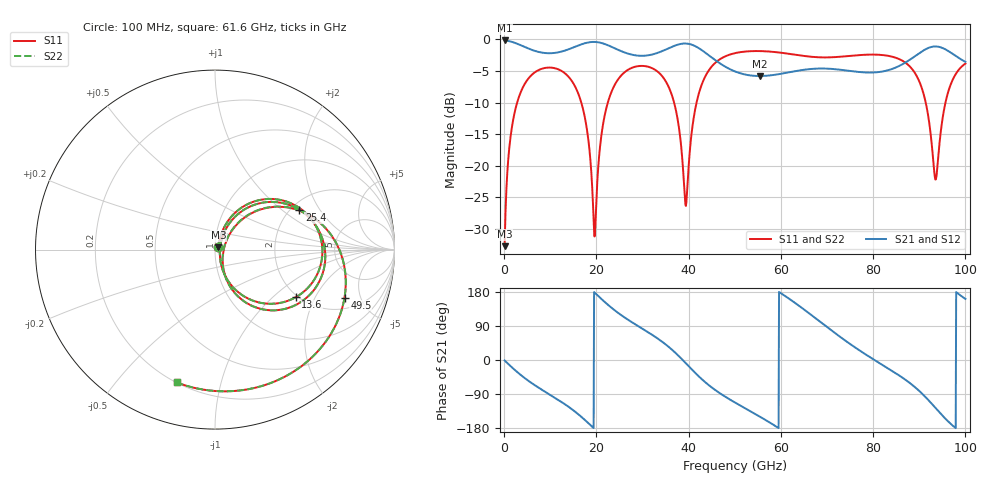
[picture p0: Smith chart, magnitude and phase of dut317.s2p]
! Touchstone file exported from HFSS 2026.1.0
!  File:  C:/ffzhzh/LocalFiles/Ansys_Project_Files/temp_train_TSV_RDL_317_1783700981_44652.aedt
!  Generated:  12:38:31 AM Jul 11, 2026
!  Design:  TSV_RDL
!  Project:  temp_train_TSV_RDL_317_1783700981_44652
! Variables:
!  h_bsmrdl = 4.65um
!  h_ox = 20um
!  h_rdl = 5um
!  h_sub = 51.26um
!  h_tmrdl = 2.07um
!  h_tsv = 51.26um
!  h_via = 3um
!  l_bsmrdl = 552.33um
!  l_sub = 3221.02um
!  l_tmrdl = 260.73um
!  m_sub = 200um
!  pitch = 53.81um
!  r_tsv = 14.78um
!  s_tmrdl = 10um
!  w_bsmrdl = 10.51um
!  w_sub = 500um
!  w_tmrdl = 29.86um
!  x_tsv_center1 = 275.66um
!  x_tsv_center2 = 838.5um
!  x_tsv_center3 = 1129.09um
!  x_tsv_center4 = 1691.93um
!  x_tsv_center5 = 1982.52um
!  x_tsv_center6 = 2545.36um
# GHz S MA R 50.000000
! Terminal data exported
! Port[1] = TM_RDL1_1_T1
! Port[2] = TM_RDL5_1_T1
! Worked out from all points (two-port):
!   1000 points, 100 MHz to 100 GHz, reference 50 ohm
!   highest |S21| = -0.17 dB at 100 MHz (marker M1); lowest = -5.8 dB at 55.4 GHz (marker M2)
!   |S21| within 3 dB of the highest: start of sweep to 45.56 GHz; 88.05 GHz to 99.06 GHz (11.01 GHz wide, 11.8 % of centre)
!   lowest |S11| = -32.7 dB at 100 MHz (marker M3), VSWR 1.05, Z = 51.9 + j1.32 ohm
!   |S11| at or under -10 dB: 16.72 GHz to 22.48 GHz (5.753 GHz wide, 29.4 % of centre); 36.84 GHz to 41.72 GHz (4.874 GHz wide, 12.4 % of centre); 91.4 GHz to 95.68 GHz (4.282 GHz wide, 4.58 % of centre) (the widest 3 of 4)
!   |S22| runs from -32.7 to -1.8 dB; largest |S21 - S12| = 3.5e-14
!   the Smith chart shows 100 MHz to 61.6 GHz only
!   S11 on the Smith chart (normalised r, x): 100 MHz: 1.04, +0.03; 13.6 GHz: 1.95, -1.42; 25.4 GHz: 2.21, +1.34; 49.5 GHz: 2.74, -3.59; 61.6 GHz: 0.20, -0.73
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0.1  0.02311 33.4  0.9809 -1.2  0.9809 -1.2  0.02311 33.4
! Gamma 0 0 0 0
! Port Impedance 50 0 50 0
1.4  0.1706 65.9  0.9623 -16.3  0.9623 -16.3  0.1706 65.9
3.7  0.3904 45.9  0.8958 -40.5  0.8958 -40.5  0.3904 45.9
13.6  0.5225 -30.5  0.8255 -120.3  0.8255 -120.3  0.5225 -30.5
16.8  0.3093 -57.9  0.9152 -150.6  0.9152 -150.6  0.3093 -57.9
19.6  0.02757 -5.7  0.9548 178.0  0.9548 178.0  0.02723 -5.9
21.7  0.2401 56.7  0.9221 154.2  0.9221 154.2  0.24 56.8
25.4  0.5193 25.3  0.8067 118.2  0.8067 118.2  0.5192 25.3
33.4  0.5511 -33.3  0.7853 55.7  0.7853 55.7  0.5511 -33.4
37.1  0.2897 -63.8  0.8951 19.3  0.8951 19.3  0.2896 -64.0
39.4  0.0481 -6.5  0.9275 -8.6  0.9275 -8.6  0.04653 -6.5
42.6  0.4149 35.1  0.8343 -47.8  0.8343 -47.8  0.4146 35.4
49.5  0.7694 -20.3  0.5686 -108.3  0.5686 -108.3  0.7692 -20.1
50.1  0.7791 -24.3  0.5567 -112.6  0.5567 -112.6  0.7789 -24.2
55.4  0.8083 -59.6  0.5131 -149.2  0.5131 -149.2  0.8081 -59.4
61.6  0.7705 -106.1  0.5477 163.2  0.5477 163.2  0.7703 -106.1
66.7  0.7282 -151.5  0.584 117.8  0.584 117.8  0.7279 -151.6
76.2  0.7473 122.0  0.5559 32.2  0.5559 32.2  0.7472 121.7
83.4  0.7397 67.7  0.5725 -23.4  0.5725 -23.4  0.7397 67.4
90.1  0.4562 14.5  0.7825 -82.8  0.7825 -82.8  0.4561 14.2
93.5  0.07774 49.1  0.8795 -126.2  0.8795 -126.2  0.07634 48.8
100  0.6436 67.9  0.6644 161.2  0.6644 161.2  0.6436 67.8
